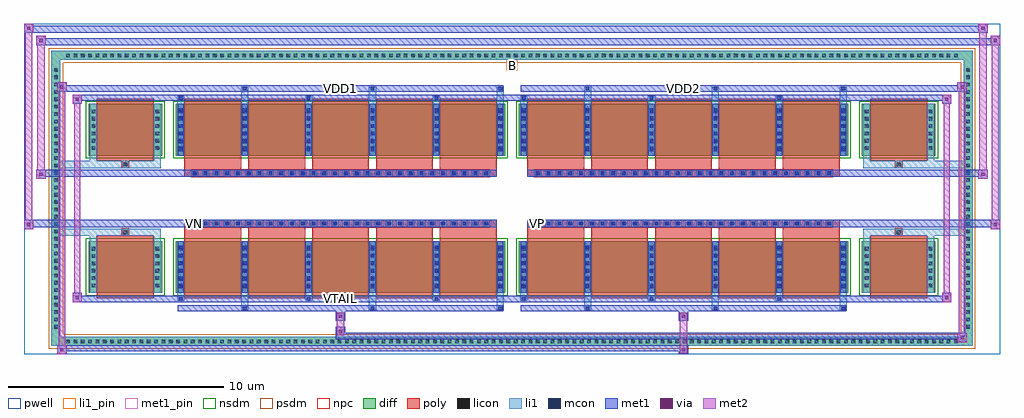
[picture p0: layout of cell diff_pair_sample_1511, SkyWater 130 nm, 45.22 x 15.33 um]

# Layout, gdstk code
import gdstk
lib = gdstk.Library(unit=1e-6, precision=5e-09)
def R(c, l, rs):  # rectangles x0, y0, x1, y1
    for r in rs: c.add(gdstk.rectangle(r[:2], r[2:], *l))
def A(c, l, x, y, w, h, nx, ny, dx, dy):  # array of equal rectangles
    R(c, l, [(x+i*dx, y+j*dy, x+i*dx+w, y+j*dy+h) for i in range(nx) for j in range(ny)])
def P(c, l, *ps):  # polygons
    for p in ps: c.add(gdstk.Polygon(p, *l))
pwell = (64, 44)
diff = (65, 20)
poly = (66, 20)
licon = (66, 44)
li1_pin = (67, 16)
li1 = (67, 20)
mcon = (67, 44)
met1_pin = (68, 16)
met1 = (68, 20)
via = (68, 44)
met2 = (69, 20)
nsdm = (93, 44)
psdm = (94, 20)
npc = (95, 20)

diff_pair_sample_1511 = lib.new_cell('diff_pair_sample_1511')
R(diff_pair_sample_1511, pwell, [(-22.61,-7.23,22.61,8.1), (-19.93,-5.42,-0.01,-0.8), (0.01,-5.42,19.93,-0.8), (-19.93,0.8,-0.01,5.42), (0.01,0.8,19.93,5.42)])
A(diff_pair_sample_1511, diff, -20.775, -6.83, 0.41, 0.41, 122, 2, 0.34, 13.25)
A(diff_pair_sample_1511, diff, -21.34, -6.155, 0.41, 0.41, 1, 36, 0, 0.34)
A(diff_pair_sample_1511, diff, 20.93, -6.155, 0.41, 0.41, 1, 36, 0, 0.34)
R(diff_pair_sample_1511, diff, [(-20.775,-6.83,20.775,-6.42), (-21.34,-6.155,-20.93,6.155), (20.93,-6.155,21.34,6.155), (-19.62,-4.375,-16.21,-1.985), (-15.57,-4.375,-0.32,-1.985), (0.32,-4.375,15.57,-1.985), (16.21,-4.375,19.62,-1.985), (-19.62,1.985,-16.21,4.375), (-15.57,1.985,-0.32,4.375), (0.32,1.985,15.57,4.375), (16.21,1.985,19.62,4.375), (-20.775,6.42,20.775,6.83)])
P(diff_pair_sample_1511, diff, [(21.34,6.83),(-21.34,6.83),(-21.34,-6.42),(-20.93,-6.42),(-20.93,6.42),(20.93,6.42),(20.93,-6.42),(-20.93,-6.42),(-21.34,-6.42),(-21.34,-6.83),(21.34,-6.83)])
A(diff_pair_sample_1511, poly, -15.18, -4.625, 2.63, 2.89, 5, 2, 2.96, 6.36)
A(diff_pair_sample_1511, poly, 0.71, -4.625, 2.63, 2.89, 5, 2, 2.96, 6.36)
A(diff_pair_sample_1511, poly, -15.18, -1.735, 2.63, 0.405, 5, 2, 2.96, 3.065)
A(diff_pair_sample_1511, poly, 0.71, -1.735, 2.63, 0.405, 5, 2, 2.96, 3.065)
A(diff_pair_sample_1511, poly, -14.86, -1.33, 0.33, 0.33, 28, 2, 0.5, 2.33)
A(diff_pair_sample_1511, poly, 1.03, -1.33, 0.33, 0.33, 28, 2, 0.5, 2.33)
R(diff_pair_sample_1511, poly, [(-19.23,-4.625,-16.6,-1.735), (16.6,-4.625,19.23,-1.735), (-18.08,-1.735,-17.75,-1.405), (-18.08,-1.735,-17.75,-1.405), (17.75,-1.735,18.08,-1.405), (17.75,-1.735,18.08,-1.405), (-15.18,-1.33,-0.71,-1), (0.71,-1.33,15.18,-1), (-15.18,1,-0.71,1.33), (0.71,1,15.18,1.33), (-18.08,1.405,-17.75,1.735), (-18.08,1.405,-17.75,1.735), (17.75,1.405,18.08,1.735), (17.75,1.405,18.08,1.735), (-19.23,1.735,-16.6,4.625), (16.6,1.735,19.23,4.625)])
A(diff_pair_sample_1511, licon, -20.655, -6.71, 0.17, 0.17, 122, 2, 0.34, 13.25)
A(diff_pair_sample_1511, licon, -21.22, -6.035, 0.17, 0.17, 1, 36, 0, 0.34)
A(diff_pair_sample_1511, licon, 21.05, -6.035, 0.17, 0.17, 1, 36, 0, 0.34)
A(diff_pair_sample_1511, licon, -19.48, -4.115, 0.17, 0.17, 1, 6, 0, 0.34)
A(diff_pair_sample_1511, licon, -16.52, -4.115, 0.17, 0.17, 1, 6, 0, 0.34)
A(diff_pair_sample_1511, licon, -15.43, -4.115, 0.17, 0.17, 6, 6, 2.96, 0.34)
A(diff_pair_sample_1511, licon, 0.46, -4.115, 0.17, 0.17, 6, 6, 2.96, 0.34)
A(diff_pair_sample_1511, licon, 16.35, -4.115, 0.17, 0.17, 1, 6, 0, 0.34)
A(diff_pair_sample_1511, licon, 19.31, -4.115, 0.17, 0.17, 1, 6, 0, 0.34)
A(diff_pair_sample_1511, licon, -14.78, -1.25, 0.17, 0.17, 28, 2, 0.5, 2.33)
A(diff_pair_sample_1511, licon, 1.11, -1.25, 0.17, 0.17, 28, 2, 0.5, 2.33)
A(diff_pair_sample_1511, licon, -19.48, 2.245, 0.17, 0.17, 1, 6, 0, 0.34)
A(diff_pair_sample_1511, licon, -16.52, 2.245, 0.17, 0.17, 1, 6, 0, 0.34)
A(diff_pair_sample_1511, licon, -15.43, 2.245, 0.17, 0.17, 6, 6, 2.96, 0.34)
A(diff_pair_sample_1511, licon, 0.46, 2.245, 0.17, 0.17, 6, 6, 2.96, 0.34)
A(diff_pair_sample_1511, licon, 16.35, 2.245, 0.17, 0.17, 1, 6, 0, 0.34)
A(diff_pair_sample_1511, licon, 19.31, 2.245, 0.17, 0.17, 1, 6, 0, 0.34)
R(diff_pair_sample_1511, licon, [(-18,-1.655,-17.83,-1.485), (17.83,-1.655,18,-1.485), (-18,1.485,-17.83,1.655), (17.83,1.485,18,1.655)])
R(diff_pair_sample_1511, li1_pin, [(-0.25,5.92,0.25,6.42)])
A(diff_pair_sample_1511, li1, -20.735, -6.79, 0.33, 0.33, 122, 2, 0.34, 13.25)
A(diff_pair_sample_1511, li1, -21.3, -6.115, 0.33, 0.33, 1, 36, 0, 0.34)
A(diff_pair_sample_1511, li1, 20.97, -6.115, 0.33, 0.33, 1, 36, 0, 0.34)
A(diff_pair_sample_1511, li1, -12.55, -5.18, 0.33, 0.805, 3, 2, 5.92, 9.555)
A(diff_pair_sample_1511, li1, -12.47, -5.18, 0.17, 0.17, 3, 2, 5.92, 10.19)
A(diff_pair_sample_1511, li1, 3.34, -5.18, 0.33, 0.805, 3, 2, 5.92, 9.555)
A(diff_pair_sample_1511, li1, 3.42, -5.18, 0.17, 0.17, 3, 2, 5.92, 10.19)
A(diff_pair_sample_1511, li1, -15.51, -4.75, 0.33, 0.375, 3, 2, 5.92, 9.125)
A(diff_pair_sample_1511, li1, -15.43, -4.75, 0.17, 0.17, 3, 2, 5.92, 9.33)
A(diff_pair_sample_1511, li1, 0.38, -4.75, 0.33, 0.375, 3, 2, 5.92, 9.125)
A(diff_pair_sample_1511, li1, 0.46, -4.75, 0.17, 0.17, 3, 2, 5.92, 9.33)
A(diff_pair_sample_1511, li1, -15.51, -4.375, 0.33, 2.39, 6, 2, 2.96, 6.36)
A(diff_pair_sample_1511, li1, 0.38, -4.375, 0.33, 2.39, 6, 2, 2.96, 6.36)
A(diff_pair_sample_1511, li1, -19.56, -4.195, 0.33, 0.33, 1, 6, 0, 0.34)
A(diff_pair_sample_1511, li1, -16.6, -4.195, 0.33, 0.33, 1, 6, 0, 0.34)
A(diff_pair_sample_1511, li1, -15.51, -4.195, 0.33, 0.33, 6, 6, 2.96, 0.34)
A(diff_pair_sample_1511, li1, 0.38, -4.195, 0.33, 0.33, 6, 6, 2.96, 0.34)
A(diff_pair_sample_1511, li1, 16.27, -4.195, 0.33, 0.33, 1, 6, 0, 0.34)
A(diff_pair_sample_1511, li1, 19.23, -4.195, 0.33, 0.33, 1, 6, 0, 0.34)
A(diff_pair_sample_1511, li1, -15.43, -4.165, 0.17, 0.17, 6, 6, 2.96, 0.36)
A(diff_pair_sample_1511, li1, -15.43, -4.165, 0.17, 1.97, 6, 2, 2.96, 6.36)
A(diff_pair_sample_1511, li1, 0.46, -4.165, 0.17, 0.17, 6, 6, 2.96, 0.36)
A(diff_pair_sample_1511, li1, 0.46, -4.165, 0.17, 1.97, 6, 2, 2.96, 6.36)
A(diff_pair_sample_1511, li1, -14.86, -1.33, 0.33, 0.33, 28, 2, 0.5, 2.33)
A(diff_pair_sample_1511, li1, 1.03, -1.33, 0.33, 0.33, 28, 2, 0.5, 2.33)
A(diff_pair_sample_1511, li1, -19.56, 2.165, 0.33, 0.33, 1, 6, 0, 0.34)
A(diff_pair_sample_1511, li1, -16.6, 2.165, 0.33, 0.33, 1, 6, 0, 0.34)
A(diff_pair_sample_1511, li1, -15.51, 2.165, 0.33, 0.33, 6, 6, 2.96, 0.34)
A(diff_pair_sample_1511, li1, 0.38, 2.165, 0.33, 0.33, 6, 6, 2.96, 0.34)
A(diff_pair_sample_1511, li1, 16.27, 2.165, 0.33, 0.33, 1, 6, 0, 0.34)
A(diff_pair_sample_1511, li1, 19.23, 2.165, 0.33, 0.33, 1, 6, 0, 0.34)
A(diff_pair_sample_1511, li1, -15.43, 2.195, 0.17, 0.17, 6, 6, 2.96, 0.36)
A(diff_pair_sample_1511, li1, 0.46, 2.195, 0.17, 0.17, 6, 6, 2.96, 0.36)
R(diff_pair_sample_1511, li1, [(-21.34,-6.83,-20.93,-6.42), (-21.34,-6.83,-20.93,-6.42), (-20.93,-6.83,20.93,-6.42), (20.93,-6.83,21.34,-6.42), (20.93,-6.83,21.34,-6.42), (-21.34,-6.42,-20.93,6.42), (20.93,-6.42,21.34,6.42), (-19.56,-4.375,-19.23,-1.985), (-16.6,-4.375,-16.27,-1.985), (16.27,-4.375,16.6,-1.985), (19.23,-4.375,19.56,-1.985), (-19.56,-1.985,-19.23,-1.405), (-16.6,-1.985,-16.27,-1.405), (16.27,-1.985,16.6,-1.405), (19.23,-1.985,19.56,-1.405), (-21.34,-1.735,-18.08,-1.405), (-19.56,-1.735,-18.08,-1.405), (-18.08,-1.735,-17.75,-1.405), (-17.75,-1.735,-16.27,-1.405), (16.27,-1.735,17.75,-1.405), (17.75,-1.735,18.08,-1.405), (17.75,-1.735,21.34,-1.405), (18.08,-1.735,19.56,-1.405), (-21.34,1.405,-18.08,1.735), (-19.56,1.405,-18.08,1.735), (-19.56,1.405,-19.23,1.985), (-18.08,1.405,-17.75,1.735), (-17.75,1.405,-16.27,1.735), (-16.6,1.405,-16.27,1.985), (16.27,1.405,17.75,1.735), (16.27,1.405,16.6,1.985), (17.75,1.405,18.08,1.735), (17.75,1.405,21.34,1.735), (18.08,1.405,19.56,1.735), (19.23,1.405,19.56,1.985), (-19.56,1.985,-19.23,4.375), (-16.6,1.985,-16.27,4.375), (16.27,1.985,16.6,4.375), (19.23,1.985,19.56,4.375), (-21.34,6.42,-20.93,6.83), (-21.34,6.42,-20.93,6.83), (-20.93,6.42,20.93,6.83), (20.93,6.42,21.34,6.83), (20.93,6.42,21.34,6.83)])
A(diff_pair_sample_1511, mcon, -12.47, -5.18, 0.17, 0.17, 3, 2, 5.92, 10.19)
A(diff_pair_sample_1511, mcon, 3.42, -5.18, 0.17, 0.17, 3, 2, 5.92, 10.19)
A(diff_pair_sample_1511, mcon, -15.43, -4.75, 0.17, 0.17, 3, 2, 5.92, 9.33)
A(diff_pair_sample_1511, mcon, 0.46, -4.75, 0.17, 0.17, 3, 2, 5.92, 9.33)
A(diff_pair_sample_1511, mcon, -15.43, -4.165, 0.17, 0.17, 6, 6, 2.96, 0.36)
A(diff_pair_sample_1511, mcon, 0.46, -4.165, 0.17, 0.17, 6, 6, 2.96, 0.36)
A(diff_pair_sample_1511, mcon, -14.78, -1.25, 0.17, 0.17, 28, 2, 0.5, 2.33)
A(diff_pair_sample_1511, mcon, 1.11, -1.25, 0.17, 0.17, 28, 2, 0.5, 2.33)
A(diff_pair_sample_1511, mcon, -15.43, 2.195, 0.17, 0.17, 6, 6, 2.96, 0.36)
A(diff_pair_sample_1511, mcon, 0.46, 2.195, 0.17, 0.17, 6, 6, 2.96, 0.36)
R(diff_pair_sample_1511, met1_pin, [(-8.08,-4.79,-7.81,-4.52), (-14.83,-1.29,-14.56,-1.02), (1.06,-1.29,1.33,-1.02), (-8.08,4.97,-7.81,5.24), (7.81,4.97,8.08,5.24)])
A(diff_pair_sample_1511, met1, -12.53, -5.24, 0.29, 0.29, 3, 2, 5.92, 10.19)
A(diff_pair_sample_1511, met1, 3.36, -5.24, 0.29, 0.29, 3, 2, 5.92, 10.19)
A(diff_pair_sample_1511, met1, -15.49, -4.81, 0.29, 0.29, 3, 2, 5.92, 9.33)
A(diff_pair_sample_1511, met1, 0.4, -4.81, 0.29, 0.29, 3, 2, 5.92, 9.33)
A(diff_pair_sample_1511, met1, -15.49, -4.375, 0.29, 2.39, 6, 2, 2.96, 6.36)
A(diff_pair_sample_1511, met1, 0.4, -4.375, 0.29, 2.39, 6, 2, 2.96, 6.36)
A(diff_pair_sample_1511, met1, -15.49, -4.225, 0.29, 0.29, 6, 6, 2.96, 0.36)
A(diff_pair_sample_1511, met1, 0.4, -4.225, 0.29, 0.29, 6, 6, 2.96, 0.36)
A(diff_pair_sample_1511, met1, -14.84, -1.31, 0.29, 0.29, 28, 2, 0.5, 2.33)
A(diff_pair_sample_1511, met1, 1.05, -1.31, 0.29, 0.29, 28, 2, 0.5, 2.33)
A(diff_pair_sample_1511, met1, -15.49, 2.135, 0.29, 0.29, 6, 6, 2.96, 0.36)
A(diff_pair_sample_1511, met1, 0.4, 2.135, 0.29, 0.29, 6, 6, 2.96, 0.36)
R(diff_pair_sample_1511, met1, [(-21.07,-7.23,-20.64,-6.8), (7.73,-7.23,8.16,-6.8), (-21.07,-7.09,8.16,-6.8), (20.64,-6.66,21.07,-6.23), (-8.16,-6.52,21.07,-6.23), (-8.16,-6.38,-7.73,-5.95), (-8.16,-5.67,-7.73,-5.24), (7.73,-5.67,8.16,-5.24), (-15.49,-5.24,-0.4,-4.95), (0.4,-5.24,15.49,-4.95), (-20.36,-4.81,-19.93,-4.38), (-20.36,-4.81,-15.49,-4.52), (-15.49,-4.81,-0.4,-4.52), (-0.4,-4.81,0.4,-4.52), (0.4,-4.81,15.49,-4.52), (15.49,-4.81,20.36,-4.52), (19.93,-4.81,20.36,-4.38), (-22.61,-1.43,-22.18,-1), (22.18,-1.43,22.61,-1), (-22.61,-1.33,-0.71,-1), (-15.18,-1.33,-0.71,-1), (0.71,-1.33,15.18,-1), (0.71,-1.33,22.61,-1), (-22.04,0.9,-21.61,1.33), (21.61,0.9,22.04,1.33), (-22.04,1,-15.18,1.33), (-15.18,1,-0.71,1.33), (0.71,1,15.18,1.33), (15.18,1,22.04,1.33), (-20.36,4.38,-19.93,4.81), (19.93,4.38,20.36,4.81), (-20.36,4.52,-15.49,4.81), (-15.49,4.52,-0.4,4.81), (-0.4,4.52,0.4,4.81), (0.4,4.52,15.49,4.81), (15.49,4.52,20.36,4.81), (-21.07,4.95,-20.64,5.38), (-21.07,4.95,-15.49,5.24), (-15.49,4.95,-0.4,5.24), (0.4,4.95,15.49,5.24), (15.49,4.95,21.07,5.24), (20.64,4.95,21.07,5.38), (-22.04,7.1,-21.61,7.53), (-22.04,7.1,-19.93,7.43), (-19.93,7.1,19.93,7.43), (19.93,7.1,22.61,7.43), (22.18,7.1,22.61,7.53), (-22.61,7.67,-22.18,8.1), (-22.61,7.67,-19.93,8), (-19.93,7.67,19.93,8), (19.93,7.67,22.04,8), (21.61,7.67,22.04,8.1)])
R(diff_pair_sample_1511, via, [(-20.93,-7.09,-20.78,-6.94), (7.87,-7.09,8.02,-6.94), (20.78,-6.52,20.93,-6.37), (-8.02,-6.24,-7.87,-6.09), (-8.02,-5.53,-7.87,-5.38), (7.87,-5.53,8.02,-5.38), (-20.22,-4.67,-20.07,-4.52), (20.07,-4.67,20.22,-4.52), (-22.47,-1.29,-22.32,-1.14), (22.32,-1.29,22.47,-1.14), (-21.9,1.04,-21.75,1.19), (21.75,1.04,21.9,1.19), (-20.22,4.52,-20.07,4.67), (20.07,4.52,20.22,4.67), (-20.93,5.09,-20.78,5.24), (20.78,5.09,20.93,5.24), (-21.9,7.24,-21.75,7.39), (22.32,7.24,22.47,7.39), (-22.47,7.81,-22.32,7.96), (21.75,7.81,21.9,7.96)])
R(diff_pair_sample_1511, met2, [(-21.07,-7.23,-20.64,-6.8), (-21,-7.23,-20.71,5.38), (-20.71,-7.23,-20.64,-6.8), (-21.02,-7.18,-20.69,-6.85), (7.78,-7.18,8.11,-6.85), (7.78,-6.85,8.11,-5.62), (20.64,-6.66,21.07,-6.23), (20.71,-6.66,21,5.38), (21,-6.66,21.07,-6.23), (20.69,-6.61,21.02,-6.28), (-8.11,-6.33,-7.78,-6), (-8.11,-6,-7.78,-5.62), (-8.11,-5.62,-7.78,-5.29), (7.78,-5.62,8.11,-5.29), (-20.36,-4.81,-19.93,-4.38), (-20.29,-4.81,-20,4.81), (-20,-4.81,-19.93,-4.38), (19.93,-4.81,20.36,-4.38), (20,-4.81,20.29,4.81), (20.29,-4.81,20.36,-4.38), (-20.31,-4.76,-19.98,-4.43), (19.98,-4.76,20.31,-4.43), (-22.61,-1.43,-22.18,-1), (-22.56,-1.43,-22.23,8.1), (-22.23,-1.43,-22.18,-1), (22.18,-1.43,22.61,-1), (22.23,-1.43,22.56,7.53), (22.56,-1.43,22.61,-1), (-22.56,-1.38,-22.23,-1.05), (22.23,-1.38,22.56,-1.05), (-22.04,0.9,-21.61,1.33), (-21.99,0.9,-21.66,7.53), (-21.66,0.9,-21.61,1.33), (21.61,0.9,22.04,1.33), (21.66,0.9,21.99,8.1), (21.99,0.9,22.04,1.33), (-21.99,0.95,-21.66,1.28), (21.66,0.95,21.99,1.28), (-20.36,4.38,-19.93,4.81), (-20,4.38,-19.93,4.81), (19.93,4.38,20.36,4.81), (20.29,4.38,20.36,4.81), (-20.31,4.43,-19.98,4.76), (19.98,4.43,20.31,4.76), (-21.07,4.95,-20.64,5.38), (-20.71,4.95,-20.64,5.38), (20.64,4.95,21.07,5.38), (21,4.95,21.07,5.38), (-21.02,5,-20.69,5.33), (20.69,5,21.02,5.33), (-22.04,7.1,-21.61,7.53), (-21.66,7.1,-21.61,7.53), (22.18,7.1,22.61,7.53), (22.56,7.1,22.61,7.53), (-21.99,7.15,-21.66,7.48), (22.23,7.15,22.56,7.48), (-22.61,7.67,-22.18,8.1), (-22.23,7.67,-22.18,8.1), (21.61,7.67,22.04,8.1), (21.99,7.67,22.04,8.1), (-22.56,7.72,-22.23,8.05), (21.66,7.72,21.99,8.05)])
R(diff_pair_sample_1511, nsdm, [(-19.75,-4.505,-16.08,-1.855), (-15.7,-4.505,-0.19,-1.855), (0.19,-4.505,15.7,-1.855), (16.08,-4.505,19.75,-1.855), (-19.75,1.855,-16.08,4.505), (-15.7,1.855,-0.19,4.505), (0.19,1.855,15.7,4.505), (16.08,1.855,19.75,4.505)])
P(diff_pair_sample_1511, psdm, [(21.47,6.96),(-21.47,6.96),(-21.47,-6.29),(-20.8,-6.29),(-20.8,6.29),(20.8,6.29),(20.8,-6.29),(-20.8,-6.29),(-21.47,-6.29),(-21.47,-6.96),(21.47,-6.96)])
A(diff_pair_sample_1511, npc, -14.88, -1.35, 0.37, 0.37, 28, 2, 0.5, 2.33)
A(diff_pair_sample_1511, npc, 1.01, -1.35, 0.37, 0.37, 28, 2, 0.5, 2.33)
R(diff_pair_sample_1511, npc, [(-18.1,-1.755,-17.73,-1.385), (17.73,-1.755,18.1,-1.385), (-14.88,-1.35,-14.01,-0.98), (-14.88,-1.35,-14.01,-0.98), (-14.38,-1.35,-13.51,-0.98), (-14.38,-1.35,-13.51,-0.98), (-13.88,-1.35,-13.01,-0.98), (-13.88,-1.35,-13.01,-0.98), (-13.38,-1.35,-12.51,-0.98), (-13.38,-1.35,-12.51,-0.98), (-12.88,-1.35,-12.01,-0.98), (-12.88,-1.35,-12.01,-0.98), (-12.38,-1.35,-11.51,-0.98), (-12.38,-1.35,-11.51,-0.98), (-11.88,-1.35,-11.01,-0.98), (-11.88,-1.35,-11.01,-0.98), (-11.38,-1.35,-10.51,-0.98), (-11.38,-1.35,-10.51,-0.98), (-10.88,-1.35,-10.01,-0.98), (-10.88,-1.35,-10.01,-0.98), (-10.38,-1.35,-9.51,-0.98), (-10.38,-1.35,-9.51,-0.98), (-9.88,-1.35,-9.01,-0.98), (-9.88,-1.35,-9.01,-0.98), (-9.38,-1.35,-8.51,-0.98), (-9.38,-1.35,-8.51,-0.98), (-8.88,-1.35,-8.01,-0.98), (-8.88,-1.35,-8.01,-0.98), (-8.38,-1.35,-7.51,-0.98), (-8.38,-1.35,-7.51,-0.98), (-7.88,-1.35,-7.01,-0.98), (-7.88,-1.35,-7.01,-0.98), (-7.38,-1.35,-6.51,-0.98), (-7.38,-1.35,-6.51,-0.98), (-6.88,-1.35,-6.01,-0.98), (-6.88,-1.35,-6.01,-0.98), (-6.38,-1.35,-5.51,-0.98), (-6.38,-1.35,-5.51,-0.98), (-5.88,-1.35,-5.01,-0.98), (-5.88,-1.35,-5.01,-0.98), (-5.38,-1.35,-4.51,-0.98), (-5.38,-1.35,-4.51,-0.98), (-4.88,-1.35,-4.01,-0.98), (-4.88,-1.35,-4.01,-0.98), (-4.38,-1.35,-3.51,-0.98), (-4.38,-1.35,-3.51,-0.98), (-3.88,-1.35,-3.01,-0.98), (-3.88,-1.35,-3.01,-0.98), (-3.38,-1.35,-2.51,-0.98), (-3.38,-1.35,-2.51,-0.98), (-2.88,-1.35,-2.01,-0.98), (-2.88,-1.35,-2.01,-0.98), (-2.38,-1.35,-1.51,-0.98), (-2.38,-1.35,-1.51,-0.98), (-1.88,-1.35,-1.01,-0.98), (-1.88,-1.35,-1.01,-0.98), (1.01,-1.35,1.88,-0.98), (1.01,-1.35,1.88,-0.98), (1.51,-1.35,2.38,-0.98), (1.51,-1.35,2.38,-0.98), (2.01,-1.35,2.88,-0.98), (2.01,-1.35,2.88,-0.98), (2.51,-1.35,3.38,-0.98), (2.51,-1.35,3.38,-0.98), (3.01,-1.35,3.88,-0.98), (3.01,-1.35,3.88,-0.98), (3.51,-1.35,4.38,-0.98), (3.51,-1.35,4.38,-0.98), (4.01,-1.35,4.88,-0.98), (4.01,-1.35,4.88,-0.98), (4.51,-1.35,5.38,-0.98), (4.51,-1.35,5.38,-0.98), (5.01,-1.35,5.88,-0.98), (5.01,-1.35,5.88,-0.98), (5.51,-1.35,6.38,-0.98), (5.51,-1.35,6.38,-0.98), (6.01,-1.35,6.88,-0.98), (6.01,-1.35,6.88,-0.98), (6.51,-1.35,7.38,-0.98), (6.51,-1.35,7.38,-0.98), (7.01,-1.35,7.88,-0.98), (7.01,-1.35,7.88,-0.98), (7.51,-1.35,8.38,-0.98), (7.51,-1.35,8.38,-0.98), (8.01,-1.35,8.88,-0.98), (8.01,-1.35,8.88,-0.98), (8.51,-1.35,9.38,-0.98), (8.51,-1.35,9.38,-0.98), (9.01,-1.35,9.88,-0.98), (9.01,-1.35,9.88,-0.98), (9.51,-1.35,10.38,-0.98), (9.51,-1.35,10.38,-0.98), (10.01,-1.35,10.88,-0.98), (10.01,-1.35,10.88,-0.98), (10.51,-1.35,11.38,-0.98), (10.51,-1.35,11.38,-0.98), (11.01,-1.35,11.88,-0.98), (11.01,-1.35,11.88,-0.98), (11.51,-1.35,12.38,-0.98), (11.51,-1.35,12.38,-0.98), (12.01,-1.35,12.88,-0.98), (12.01,-1.35,12.88,-0.98), (12.51,-1.35,13.38,-0.98), (12.51,-1.35,13.38,-0.98), (13.01,-1.35,13.88,-0.98), (13.01,-1.35,13.88,-0.98), (13.51,-1.35,14.38,-0.98), (13.51,-1.35,14.38,-0.98), (14.01,-1.35,14.88,-0.98), (14.01,-1.35,14.88,-0.98), (-14.88,0.98,-14.01,1.35), (-14.88,0.98,-14.01,1.35), (-14.38,0.98,-13.51,1.35), (-14.38,0.98,-13.51,1.35), (-13.88,0.98,-13.01,1.35), (-13.88,0.98,-13.01,1.35), (-13.38,0.98,-12.51,1.35), (-13.38,0.98,-12.51,1.35), (-12.88,0.98,-12.01,1.35), (-12.88,0.98,-12.01,1.35), (-12.38,0.98,-11.51,1.35), (-12.38,0.98,-11.51,1.35), (-11.88,0.98,-11.01,1.35), (-11.88,0.98,-11.01,1.35), (-11.38,0.98,-10.51,1.35), (-11.38,0.98,-10.51,1.35), (-10.88,0.98,-10.01,1.35), (-10.88,0.98,-10.01,1.35), (-10.38,0.98,-9.51,1.35), (-10.38,0.98,-9.51,1.35), (-9.88,0.98,-9.01,1.35), (-9.88,0.98,-9.01,1.35), (-9.38,0.98,-8.51,1.35), (-9.38,0.98,-8.51,1.35), (-8.88,0.98,-8.01,1.35), (-8.88,0.98,-8.01,1.35), (-8.38,0.98,-7.51,1.35), (-8.38,0.98,-7.51,1.35), (-7.88,0.98,-7.01,1.35), (-7.88,0.98,-7.01,1.35), (-7.38,0.98,-6.51,1.35), (-7.38,0.98,-6.51,1.35), (-6.88,0.98,-6.01,1.35), (-6.88,0.98,-6.01,1.35), (-6.38,0.98,-5.51,1.35), (-6.38,0.98,-5.51,1.35), (-5.88,0.98,-5.01,1.35), (-5.88,0.98,-5.01,1.35), (-5.38,0.98,-4.51,1.35), (-5.38,0.98,-4.51,1.35), (-4.88,0.98,-4.01,1.35), (-4.88,0.98,-4.01,1.35), (-4.38,0.98,-3.51,1.35), (-4.38,0.98,-3.51,1.35), (-3.88,0.98,-3.01,1.35), (-3.88,0.98,-3.01,1.35), (-3.38,0.98,-2.51,1.35), (-3.38,0.98,-2.51,1.35), (-2.88,0.98,-2.01,1.35), (-2.88,0.98,-2.01,1.35), (-2.38,0.98,-1.51,1.35), (-2.38,0.98,-1.51,1.35), (-1.88,0.98,-1.01,1.35), (-1.88,0.98,-1.01,1.35), (1.01,0.98,1.88,1.35), (1.01,0.98,1.88,1.35), (1.51,0.98,2.38,1.35), (1.51,0.98,2.38,1.35), (2.01,0.98,2.88,1.35), (2.01,0.98,2.88,1.35), (2.51,0.98,3.38,1.35), (2.51,0.98,3.38,1.35), (3.01,0.98,3.88,1.35), (3.01,0.98,3.88,1.35), (3.51,0.98,4.38,1.35), (3.51,0.98,4.38,1.35), (4.01,0.98,4.88,1.35), (4.01,0.98,4.88,1.35), (4.51,0.98,5.38,1.35), (4.51,0.98,5.38,1.35), (5.01,0.98,5.88,1.35), (5.01,0.98,5.88,1.35), (5.51,0.98,6.38,1.35), (5.51,0.98,6.38,1.35), (6.01,0.98,6.88,1.35), (6.01,0.98,6.88,1.35), (6.51,0.98,7.38,1.35), (6.51,0.98,7.38,1.35), (7.01,0.98,7.88,1.35), (7.01,0.98,7.88,1.35), (7.51,0.98,8.38,1.35), (7.51,0.98,8.38,1.35), (8.01,0.98,8.88,1.35), (8.01,0.98,8.88,1.35), (8.51,0.98,9.38,1.35), (8.51,0.98,9.38,1.35), (9.01,0.98,9.88,1.35), (9.01,0.98,9.88,1.35), (9.51,0.98,10.38,1.35), (9.51,0.98,10.38,1.35), (10.01,0.98,10.88,1.35), (10.01,0.98,10.88,1.35), (10.51,0.98,11.38,1.35), (10.51,0.98,11.38,1.35), (11.01,0.98,11.88,1.35), (11.01,0.98,11.88,1.35), (11.51,0.98,12.38,1.35), (11.51,0.98,12.38,1.35), (12.01,0.98,12.88,1.35), (12.01,0.98,12.88,1.35), (12.51,0.98,13.38,1.35), (12.51,0.98,13.38,1.35), (13.01,0.98,13.88,1.35), (13.01,0.98,13.88,1.35), (13.51,0.98,14.38,1.35), (13.51,0.98,14.38,1.35), (14.01,0.98,14.88,1.35), (14.01,0.98,14.88,1.35), (-18.1,1.385,-17.73,1.755), (17.73,1.385,18.1,1.755)])
diff_pair_sample_1511.add(gdstk.Label('VTAIL', (-7.945,-4.655), layer=68, texttype=5))
diff_pair_sample_1511.add(gdstk.Label('VN', (-14.695,-1.155), layer=68, texttype=5))
diff_pair_sample_1511.add(gdstk.Label('VP', (1.195,-1.155), layer=68, texttype=5))
diff_pair_sample_1511.add(gdstk.Label('B', (0,6.17), layer=67, texttype=5))
diff_pair_sample_1511.add(gdstk.Label('VDD2', (7.945,5.105), layer=68, texttype=5))
diff_pair_sample_1511.add(gdstk.Label('VDD1', (-7.945,5.105), layer=68, texttype=5))

lib.write_gds('diff_pair_sample_1511.gds')
